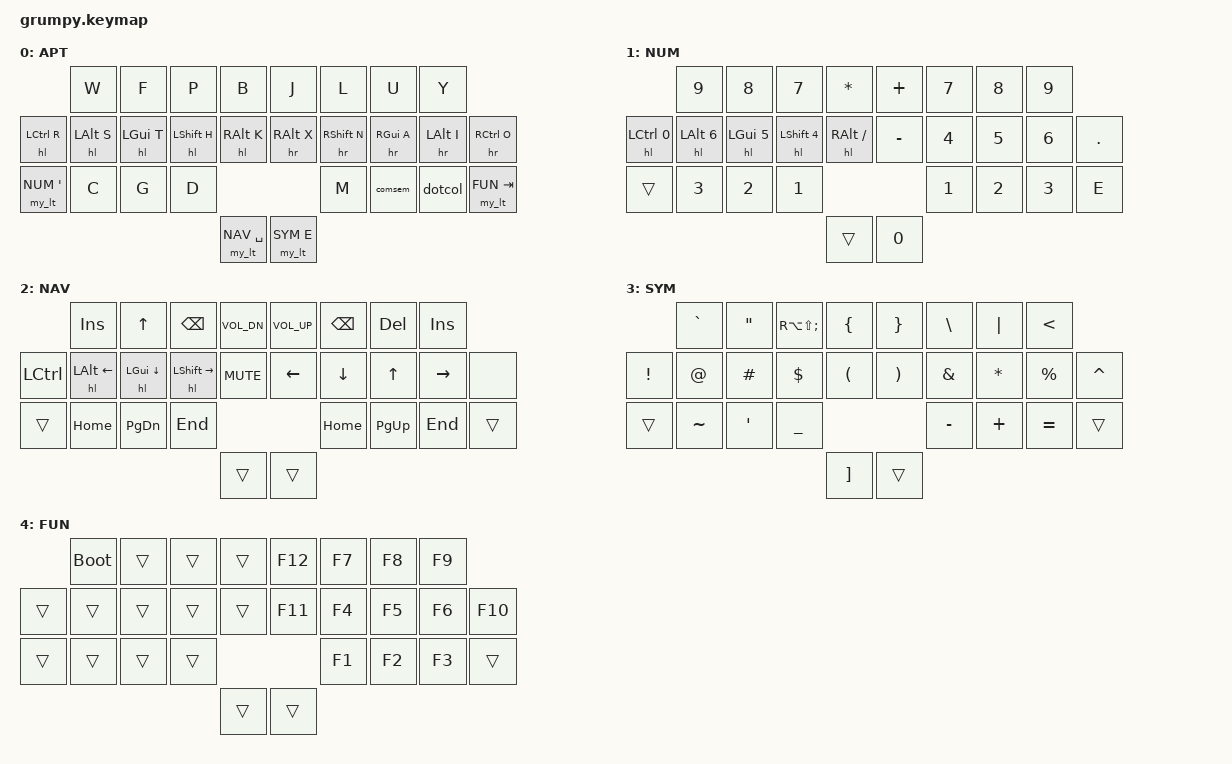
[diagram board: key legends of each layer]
#include "base_grumpy.h"
#edit

//   ____________________________  ____________________________
//  /       0  |  1  |  2  |  3  \/   4 |   5 |   6 |   7      \
// |  8  |  9  | 10  | 11  | 12  /\  13 |  14 |  15 |  16 | 17  |
// | 19  | 19  | 20  | 21       /  \       22 |  23 |  24 | 25  |
//                      \  26  /    \  27  /
//                       ------      ------

/ {

    keymap {
        compatible = "zmk,keymap";

        aptmak {
            label = "APT";

            bindings = <
                               &kp W          &kp F          &kp P          &kp B          &kp J          &kp L          &kp U          &kp Y
                &hl LCTRL R    &hl LALT S     &hl LGUI T     &hl LSHFT H    &hl RALT K     &hr RALT X     &hr RSHFT N    &hr RGUI A     &hr LALT I     &hr RCTRL O
                &my_lt NUM SQT &kp C          &kp G          &kp D                                        &kp M          &comsem        &dotcol        &my_lt FUN TAB
                                                                            &my_lt NAV SPACE &my_lt SYM E
            >;
        };
        numbers {
            label = "NUM";

            bindings = <
                               &kp N9         &kp N8         &kp N7         &kp ASTERISK   &kp PLUS       &kp N7         &kp N8         &kp N9
                &hl LCTRL N0   &hl LALT N6    &hl LGUI N5    &hl LSHFT N4   &hl RALT SLASH &kp MINUS      &kp N4         &kp N5         &kp N6         &kp DOT
                &trans         &kp N3         &kp N2         &kp N1                                       &kp N1         &kp N2         &kp N3         &kp E
                                                                            &trans         &kp N0
            >;
        };
        navigation {
            label = "NAV";

            bindings = <
                               &kp INSERT     &kp UP         &kp BSPC        &kp C_VOL_DN   &kp C_VOL_UP   &kp BSPC       &kp DEL        &kp INSERT
                &kp LCTRL      &hl LALT LEFT  &hl LGUI DOWN  &hl LSHFT RIGHT &kp C_MUTE     &kp LEFT       &kp DOWN       &kp UP         &kp RIGHT      &none
                &trans         &kp HOME       &kp PG_DN      &kp END                                       &kp HOME       &kp PG_UP      &kp END        &trans
                                                                             &trans         &trans
            >;
        };
        symbols {
            label = "SYM";

            bindings = <
                               &kp GRAVE      &kp DQT        &kp RA(LS(SEMI)) &kp LBRC       &kp RBRC       &kp BACKSLASH  &kp PIPE       &kp LT
                &kp EXCL       &kp AT         &kp HASH       &kp DOLLAR       &kp LPAR       &kp RPAR       &kp AMPERSAND  &kp ASTERISK   &kp PERCENT    &kp CARET
                &trans         &kp TILDE      &kp SQT        &kp UNDERSCORE                                 &kp MINUS      &kp PLUS       &kp EQUAL      &trans
                                                                              &kp RBKT       &trans
            >;
        };
        function {
            label = "FUN";

            bindings = <
                               &bootloader    &trans         &trans         &trans         &kp F12        &kp F7         &kp F8         &kp F9
                &trans         &trans         &trans         &trans         &trans         &kp F11        &kp F4         &kp F5         &kp F6         &kp F10
                &trans         &trans         &trans         &trans                                       &kp F1         &kp F2         &kp F3         &trans
                                                                            &trans         &trans
            >;
        };

    };
};
